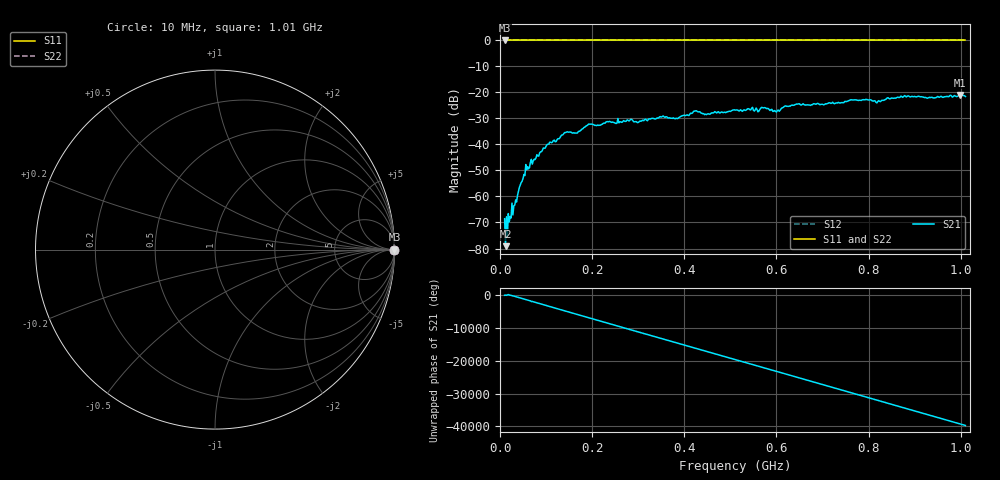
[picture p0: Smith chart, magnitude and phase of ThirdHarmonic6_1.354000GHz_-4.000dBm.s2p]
! 8/16/2025 3:15:09 PM
! C:\ANRITSUVNA\TEMP\TEMP.S2P
! CHANNEL.1
! TR.MEASUREMENT
! RAW.DATA
! RF.CORRECTION.OFF
! AVERAGING.OFF
! IF.BANDWIDTH: 5KHZ
! SWEEPTYPE:  FREQ.SWEEP(Linear)
! Reference Plane Port Info
! PORT:  PORT1  PORT2
! DISTANCE:  0  m  0  m
! TIME:  0  s  0  s
! PHASE.OFFSET:  0  deg.  0  deg.
! LOSS:  0  dB  0  dB
! REF.LOSS:  0  dB  0  dB
! REF.FREQ:  0  Hz  0  Hz
! Power Info
! POWER:  -20  dBm  -20  dBm
! EFF.POWER:  -20  dBm  -20  dBm
! SOURCE.ATTEN:  0  dB  0  dB
! TEST.ATTEN:  0  dB  0  dB
# GHZ S RI R 50.0
! FREQ.GHZ  S11RE  S11IM  S21RE  S21IM  S12RE  S12IM  S22RE  S22IM
!; PortSelection: Port_12
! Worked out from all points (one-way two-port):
!   501 points, 10 MHz to 1.01 GHz, reference 50 ohm
!   highest |S21| = -20.98 dB at 998 MHz (marker M1); lowest = -79.1 dB at 12 MHz (marker M2)
!   lowest |S11| = 0.0 dB at 10 MHz (marker M3)
!   |S11| at or under -10 dB: nowhere
!   |S22| runs from 0.0 to 0.0 dB; largest |S21 - S12| = 1.1
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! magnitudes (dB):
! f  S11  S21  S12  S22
! 10 MHz  0.0  -68.6  0.0  0.0
! 12 MHz  0.0  -79.1  0.0  0.0
! 16 MHz  0.0  -75.7  0.0  0.0
! 22 MHz  0.0  -67.7  0.0  0.0
! 32 MHz  0.0  -63.4  0.0  0.0
! 56 MHz  0.0  -47.7  0.0  0.0
! 70 MHz  0.0  -47.5  0.0  0.0
! 106 MHz  0.0  -39.8  0.0  0.0
! 142 MHz  0.0  -35.4  0.0  0.0
! 178 MHz  0.0  -34.1  0.0  0.0
! 196 MHz  0.0  -32.2  0.0  0.0
! 344 MHz  0.0  -29.8  0.0  0.0
! 382 MHz  0.0  -29.9  0.0  0.0
! 424 MHz  0.0  -27.1  0.0  0.0
! 510 MHz  0.0  -26.7  0.0  0.0
! 572 MHz  0.0  -25.9  0.0  0.0
! 596 MHz  0.0  -26.9  0.0  0.0
! 644 MHz  0.0  -24.4  0.0  0.0
! 678 MHz  0.0  -24.7  0.0  0.0
! 844 MHz  0.0  -22.3  0.0  0.0
! 998 MHz  0.0  -21.0  0.0  0.0
! 1.01 GHz  0.0  -21.5  0.0  0.0
